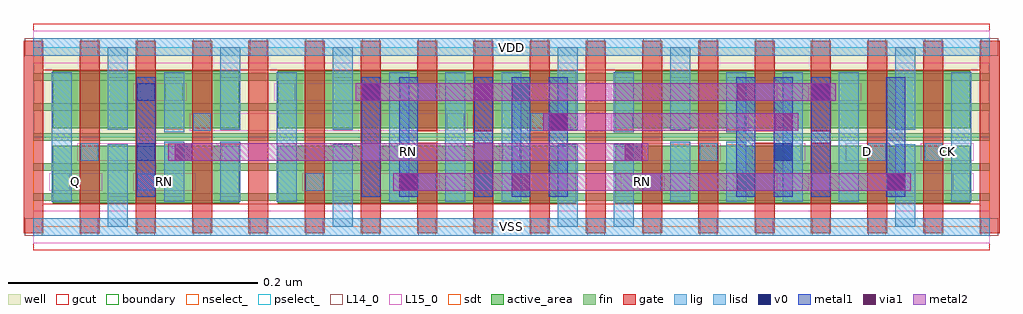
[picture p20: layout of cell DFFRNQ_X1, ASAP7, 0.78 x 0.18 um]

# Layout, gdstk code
import gdstk
lib = gdstk.Library(unit=1e-6, precision=2.5e-10)
def R(c, l, rs):  # rectangles x0, y0, x1, y1
    for r in rs: c.add(gdstk.rectangle(r[:2], r[2:], *l))
def A(c, l, x, y, w, h, nx, ny, dx, dy):  # array of equal rectangles
    R(c, l, [(x+i*dx, y+j*dy, x+i*dx+w, y+j*dy+h) for i in range(nx) for j in range(ny)])
well = (1, 0)
fin = (2, 0)
gate = (7, 0)
gcut = (10, 0)
active_area = (11, 0)
nselect_ = (12, 0)
pselect_ = (13, 0)
L14_0 = (14, 0)
L15_0 = (15, 0)
lig = (16, 0)
lisd = (17, 0)
v0 = (18, 0)
metal1 = (19, 0)
metal2 = (20, 0)
via1 = (21, 0)
sdt = (88, 0)
boundary = (100, 0)

dffrnq_x1 = lib.new_cell('DFFRNQ_X1')
R(dffrnq_x1, well, [(0,0.072,0.765,0.144)])
A(dffrnq_x1, fin, 0, 0.021, 0.765, 0.006, 1, 5, 0, 0.024)
A(dffrnq_x1, gate, -0.008, -0.005, 0.016, 0.154, 7, 1, 0.045, 0)
A(dffrnq_x1, gate, 0.397, -0.005, 0.016, 0.154, 4, 1, 0.045, 0)
A(dffrnq_x1, gate, 0.667, -0.005, 0.016, 0.154, 3, 1, 0.045, 0)
R(dffrnq_x1, gate, [(0.307,-0.005,0.323,0.067), (0.352,-0.005,0.368,0.067), (0.577,-0.005,0.593,0.067), (0.622,-0.005,0.638,0.067), (0.307,0.077,0.323,0.149), (0.352,0.077,0.368,0.149), (0.577,0.077,0.593,0.149), (0.622,0.077,0.638,0.149)])
R(dffrnq_x1, gcut, [(0,-0.0185,0.765,0.0185), (-0.008,-0.005,0.008,0.149), (0.757,-0.005,0.773,0.149), (0.307,0.067,0.323,0.077), (0.352,0.067,0.368,0.077), (0.577,0.067,0.593,0.077), (0.622,0.067,0.638,0.077), (0,0.1255,0.765,0.1625)])
A(dffrnq_x1, active_area, 0.0155, 0.019, 0.059, 0.046, 3, 2, 0.045, 0.06)
A(dffrnq_x1, active_area, 0.1955, 0.019, 0.059, 0.046, 5, 2, 0.045, 0.06)
A(dffrnq_x1, active_area, 0.4655, 0.019, 0.059, 0.046, 6, 2, 0.045, 0.06)
R(dffrnq_x1, nselect_, [(0,0,0.765,0.072)])
R(dffrnq_x1, pselect_, [(0,0.072,0.765,0.144)])
A(dffrnq_x1, L14_0, -0.007, -0.007, 0.014, 0.014, 18, 2, 0.045, 0.144)
A(dffrnq_x1, L14_0, 0.038, 0.053, 0.014, 0.014, 4, 1, 0.1125, 0)
A(dffrnq_x1, L14_0, 0.533, 0.053, 0.014, 0.014, 3, 1, 0.0675, 0)
A(dffrnq_x1, L14_0, 0.3305, 0.077, 0.014, 0.014, 3, 1, 0.0675, 0)
R(dffrnq_x1, L14_0, [(0.0155,0.029,0.0295,0.043), (0.083,0.029,0.097,0.043), (0.218,0.029,0.232,0.043), (0.308,0.029,0.322,0.043), (0.353,0.029,0.367,0.043), (0.488,0.029,0.502,0.043), (0.578,0.029,0.592,0.043), (0.623,0.029,0.637,0.043), (0.7355,0.029,0.7495,0.043), (0.713,0.053,0.727,0.067), (0.128,0.077,0.142,0.091), (0.5555,0.077,0.5695,0.091), (0.1055,0.101,0.1195,0.115), (0.1955,0.101,0.2095,0.115), (0.308,0.101,0.322,0.115), (0.353,0.101,0.367,0.115), (0.578,0.101,0.592,0.115), (0.623,0.101,0.637,0.115)])
R(dffrnq_x1, L15_0, [(0,-0.013,0.765,0.013), (0.0125,0.029,0.055,0.043), (0.08,0.029,0.13,0.043), (0.215,0.029,0.325,0.043), (0.35,0.029,0.3925,0.043), (0.47,0.029,0.505,0.043), (0.56,0.029,0.595,0.043), (0.62,0.029,0.7525,0.043), (0.035,0.053,0.28,0.067), (0.3725,0.053,0.55,0.067), (0.575,0.053,0.6175,0.067), (0.65,0.053,0.685,0.067), (0.71,0.053,0.7525,0.067), (0.125,0.077,0.3475,0.091), (0.395,0.077,0.43,0.091), (0.4625,0.077,0.5725,0.091), (0.08,0.101,0.1225,0.115), (0.1925,0.101,0.325,0.115), (0.35,0.101,0.595,0.115), (0.62,0.101,0.6625,0.115), (0,0.131,0.765,0.157)])
R(dffrnq_x1, lig, [(0,-0.007,0.765,0.007), (0.083,0.029,0.097,0.043), (0.218,0.029,0.232,0.043), (0.308,0.029,0.322,0.043), (0.353,0.029,0.367,0.043), (0.488,0.029,0.502,0.043), (0.578,0.029,0.592,0.043), (0.623,0.029,0.637,0.043), (0.038,0.053,0.052,0.067), (0.263,0.053,0.277,0.067), (0.533,0.053,0.547,0.067), (0.668,0.053,0.682,0.067), (0.713,0.053,0.727,0.067), (0.128,0.077,0.142,0.091), (0.398,0.077,0.412,0.091), (0.308,0.101,0.322,0.115), (0.353,0.101,0.367,0.115), (0.578,0.101,0.592,0.115), (0.623,0.101,0.637,0.115), (0,0.137,0.765,0.151)])
A(dffrnq_x1, lisd, 0.0595, 0.078, 0.016, 0.066, 3, 1, 0.09, 0)
R(dffrnq_x1, lisd, [(0.0595,0,0.0755,0.066), (0.0595,0,0.0755,0.066), (0.2395,0,0.2555,0.066), (0.2395,0,0.2555,0.066), (0.4195,0,0.4355,0.066), (0.4645,0,0.4805,0.066), (0.6895,0,0.7055,0.066), (0.6895,0,0.7055,0.066), (0.0145,0.02,0.0305,0.124), (0.1045,0.02,0.1205,0.068), (0.1045,0.02,0.1205,0.068), (0.1495,0.02,0.1655,0.068), (0.1945,0.02,0.2105,0.124), (0.2845,0.02,0.3005,0.124), (0.2845,0.02,0.3005,0.124), (0.3295,0.02,0.3455,0.124), (0.3295,0.02,0.3455,0.124), (0.3745,0.02,0.3905,0.124), (0.3745,0.02,0.3905,0.124), (0.5095,0.02,0.5255,0.068), (0.5095,0.02,0.5255,0.068), (0.5545,0.02,0.5705,0.068), (0.5545,0.02,0.5705,0.068), (0.5995,0.02,0.6155,0.124), (0.5995,0.02,0.6155,0.124), (0.6445,0.02,0.6605,0.124), (0.6445,0.02,0.6605,0.124), (0.7345,0.02,0.7505,0.124), (0.1045,0.076,0.1205,0.124), (0.1045,0.076,0.1205,0.124), (0.4645,0.076,0.4805,0.124), (0.5545,0.076,0.5705,0.124), (0.5545,0.076,0.5705,0.124), (0.0595,0.078,0.0755,0.144), (0.2395,0.078,0.2555,0.144), (0.4195,0.078,0.4355,0.144), (0.5095,0.078,0.5255,0.144), (0.5095,0.078,0.5255,0.144), (0.6895,0.078,0.7055,0.144), (0.6895,0.078,0.7055,0.144)])
R(dffrnq_x1, v0, [(0.293,0.029,0.307,0.043), (0.353,0.029,0.367,0.043), (0.563,0.029,0.577,0.043), (0.683,0.029,0.697,0.043), (0.083,0.053,0.097,0.067), (0.593,0.053,0.607,0.067), (0.413,0.077,0.427,0.091), (0.083,0.101,0.097,0.115), (0.263,0.101,0.277,0.115), (0.383,0.101,0.397,0.115), (0.623,0.101,0.637,0.115)])
A(dffrnq_x1, metal1, 0.3525, 0.024, 0.015, 0.096, 3, 1, 0.03, 0)
A(dffrnq_x1, metal1, 0.5625, 0.024, 0.015, 0.096, 3, 1, 0.03, 0)
R(dffrnq_x1, metal1, [(0.0825,0.024,0.0975,0.12), (0.2625,0.024,0.2775,0.12), (0.2925,0.024,0.3075,0.12), (0.6825,0.024,0.6975,0.12)])
R(dffrnq_x1, metal2, [(0.288,0.029,0.702,0.043), (0.108,0.053,0.492,0.067), (0.408,0.077,0.612,0.091), (0.258,0.101,0.642,0.115)])
R(dffrnq_x1, via1, [(0.293,0.029,0.307,0.043), (0.383,0.029,0.397,0.043), (0.683,0.029,0.697,0.043), (0.113,0.053,0.127,0.067), (0.473,0.053,0.487,0.067), (0.413,0.077,0.427,0.091), (0.593,0.077,0.607,0.091), (0.263,0.101,0.277,0.115), (0.353,0.101,0.367,0.115), (0.563,0.101,0.577,0.115), (0.623,0.101,0.637,0.115)])
A(dffrnq_x1, sdt, 0.4195, 0.024, 0.016, 0.042, 3, 2, 0.045, 0.054)
R(dffrnq_x1, sdt, [(0.0145,0.02,0.0305,0.124), (0.1945,0.02,0.2105,0.124), (0.2845,0.02,0.3005,0.124), (0.2845,0.02,0.3005,0.124), (0.3295,0.02,0.3455,0.124), (0.3295,0.02,0.3455,0.124), (0.3745,0.02,0.3905,0.124), (0.3745,0.02,0.3905,0.124), (0.5995,0.02,0.6155,0.124), (0.5995,0.02,0.6155,0.124), (0.6445,0.02,0.6605,0.124), (0.6445,0.02,0.6605,0.124), (0.7345,0.02,0.7505,0.124), (0.0595,0.024,0.0755,0.066), (0.0595,0.024,0.0755,0.066), (0.1045,0.024,0.1205,0.066), (0.1045,0.024,0.1205,0.066), (0.1495,0.024,0.1655,0.066), (0.2395,0.024,0.2555,0.066), (0.2395,0.024,0.2555,0.066), (0.5095,0.024,0.5255,0.066), (0.5545,0.024,0.5705,0.066), (0.5545,0.024,0.5705,0.066), (0.6895,0.024,0.7055,0.066), (0.6895,0.024,0.7055,0.066), (0.0595,0.078,0.0755,0.12), (0.0595,0.078,0.0755,0.12), (0.1045,0.078,0.1205,0.12), (0.1045,0.078,0.1205,0.12), (0.1495,0.078,0.1655,0.12), (0.2395,0.078,0.2555,0.12), (0.2395,0.078,0.2555,0.12), (0.5095,0.078,0.5255,0.12), (0.5545,0.078,0.5705,0.12), (0.5545,0.078,0.5705,0.12), (0.6895,0.078,0.7055,0.12), (0.6895,0.078,0.7055,0.12)])
R(dffrnq_x1, boundary, [(0,0,0.765,0.144)])
dffrnq_x1.add(gdstk.Label('VDD', (0.3825,0.144), layer=1, texttype=251))
dffrnq_x1.add(gdstk.Label('VSS', (0.3825,0), layer=3, texttype=251))
dffrnq_x1.add(gdstk.Label('Q', (0.0338,0.036), layer=15, texttype=251))
dffrnq_x1.add(gdstk.Label('RN', (0.105,0.036), layer=15, texttype=251))
dffrnq_x1.add(gdstk.Label('RN', (0.4875,0.036), layer=15, texttype=251))
dffrnq_x1.add(gdstk.Label('D', (0.6675,0.06), layer=15, texttype=251))
dffrnq_x1.add(gdstk.Label('CK', (0.7313,0.06), layer=15, texttype=251))
dffrnq_x1.add(gdstk.Label('VSS', (0.3825,0), layer=15, texttype=251))
dffrnq_x1.add(gdstk.Label('VDD', (0.3825,0.144), layer=15, texttype=251))
dffrnq_x1.add(gdstk.Label('RN', (0.3,0.06), layer=20, texttype=251))

lib.write_gds('DFFRNQ_X1.gds')
